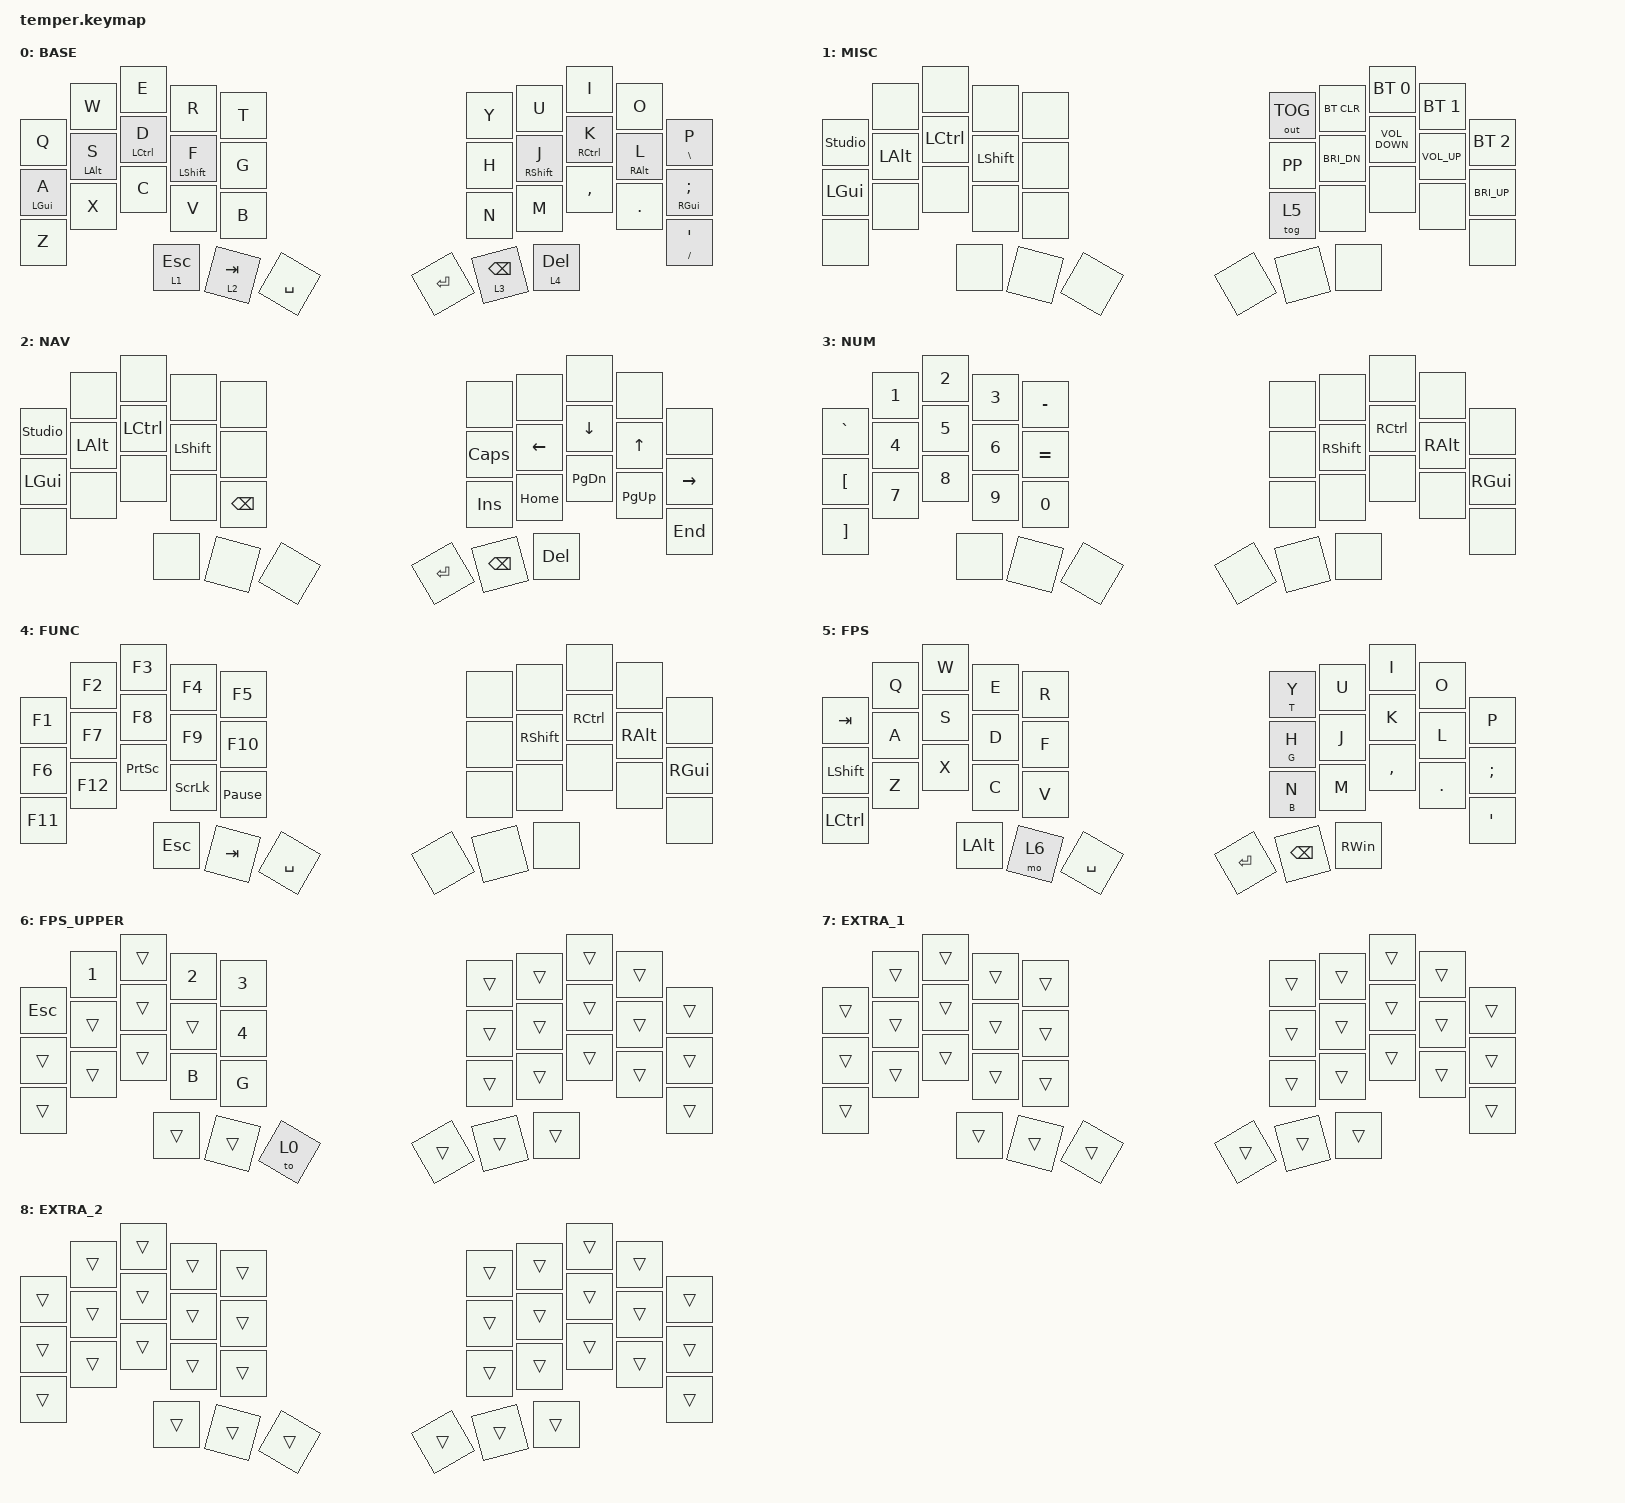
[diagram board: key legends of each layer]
/*
 * Copyright (c) 2020 The ZMK Contributors
 *
 * SPDX-License-Identifier: MIT
 */

#include <behaviors.dtsi>
#include <dt-bindings/zmk/bt.h>
#include <dt-bindings/zmk/keys.h>
#include <dt-bindings/zmk/outputs.h>

&mt { flavor = "tap-preferred"; };

/ {
    keymap {
        compatible = "zmk,keymap";

        BASE {
            bindings = <
&kp Q           &kp W           &kp E               &kp R             &kp T    &kp Y  &kp U              &kp I                &kp O            &mt BACKSLASH P
&mt LEFT_GUI A  &mt LEFT_ALT S  &mt LEFT_CONTROL D  &mt LEFT_SHIFT F  &kp G    &kp H  &mt RIGHT_SHIFT J  &mt RIGHT_CONTROL K  &mt RIGHT_ALT L  &mt RIGHT_GUI SEMICOLON
&kp Z           &kp X           &kp C               &kp V             &kp B    &kp N  &kp M              &kp COMMA            &kp DOT          &mt SLASH SQT
&lt 1 ESCAPE    &lt 2 TAB       &kp SPACE                                                                &kp RET              &lt 3 BACKSPACE  &lt 4 DELETE
            >;
        };

        MISC {
            bindings = <
&studio_unlock  &none     &none      &none      &none    &out OUT_TOG  &bt BT_CLR    &bt BT_SEL 0       &bt BT_SEL 1     &bt BT_SEL 2
&kp LGUI        &kp LALT  &kp LCTRL  &kp LSHFT  &none    &kp K_PP      &kp C_BRI_DN  &kp C_VOLUME_DOWN  &kp C_VOLUME_UP  &kp C_BRI_UP
&none           &none     &none      &none      &none    &tog 5        &none         &none              &none            &none
&none           &none     &none                                                      &none              &none            &none
            >;
        };

        NAV {
            bindings = <
&studio_unlock  &none     &none      &none      &none            &none         &none     &none          &none          &none
&kp LGUI        &kp LALT  &kp LCTRL  &kp LSHFT  &none            &kp CAPSLOCK  &kp LEFT  &kp DOWN       &kp UP_ARROW   &kp RIGHT
&none           &none     &none      &none      &kp BACKSPACE    &kp INSERT    &kp HOME  &kp PAGE_DOWN  &kp PG_UP      &kp END
&none           &none     &none                                                          &kp ENTER      &kp BACKSPACE  &kp DELETE
            >;
        };

        NUM {
            bindings = <
&kp GRAVE  &kp N1  &kp N2  &kp N3  &kp MINUS    &none  &none      &none      &none     &none
&kp LBKT   &kp N4  &kp N5  &kp N6  &kp EQUAL    &none  &kp RSHFT  &kp RCTRL  &kp RALT  &kp RGUI
&kp RBKT   &kp N7  &kp N8  &kp N9  &kp N0       &none  &none      &none      &none     &none
&none      &none   &none                                          &none      &none     &none
            >;
        };

        FUNC {
            bindings = <
&kp F1      &kp F2   &kp F3           &kp F4    &kp F5             &none  &none      &none      &none     &none
&kp F6      &kp F7   &kp F8           &kp F9    &kp F10            &none  &kp RSHFT  &kp RCTRL  &kp RALT  &kp RGUI
&kp F11     &kp F12  &kp PRINTSCREEN  &kp SLCK  &kp PAUSE_BREAK    &none  &none      &none      &none     &none
&kp ESCAPE  &kp TAB  &kp SPACE                                                       &none      &none     &none
            >;
        };

        FPS {
            bindings = <
&kp TAB       &kp Q  &kp W      &kp E  &kp R    &mt T Y  &kp U  &kp I      &kp O     &kp P
&kp LSHFT     &kp A  &kp S      &kp D  &kp F    &mt G H  &kp J  &kp K      &kp L     &kp SEMI
&kp LCTRL     &kp Z  &kp X      &kp C  &kp V    &mt B N  &kp M  &kp COMMA  &kp DOT   &kp SQT
&kp LEFT_ALT  &mo 6  &kp SPACE                                  &kp RET    &kp BSPC  &kp RIGHT_WIN
            >;
        };

        FPS_UPPER {
            bindings = <
&kp ESCAPE  &kp N1  &trans  &kp N2  &kp N3    &trans  &trans  &trans  &trans  &trans
&trans      &trans  &trans  &trans  &kp N4    &trans  &trans  &trans  &trans  &trans
&trans      &trans  &trans  &kp B   &kp G     &trans  &trans  &trans  &trans  &trans
&trans      &trans  &to 0                                     &trans  &trans  &trans
            >;
        };

        EXTRA_1 {
            bindings = <
&trans  &trans  &trans  &trans  &trans    &trans  &trans  &trans  &trans  &trans
&trans  &trans  &trans  &trans  &trans    &trans  &trans  &trans  &trans  &trans
&trans  &trans  &trans  &trans  &trans    &trans  &trans  &trans  &trans  &trans
&trans  &trans  &trans                                    &trans  &trans  &trans
            >;
        };

        EXTRA_2 {
            bindings = <
&trans  &trans  &trans  &trans  &trans    &trans  &trans  &trans  &trans  &trans
&trans  &trans  &trans  &trans  &trans    &trans  &trans  &trans  &trans  &trans
&trans  &trans  &trans  &trans  &trans    &trans  &trans  &trans  &trans  &trans
&trans  &trans  &trans                                    &trans  &trans  &trans
            >;
        };
    };
};
